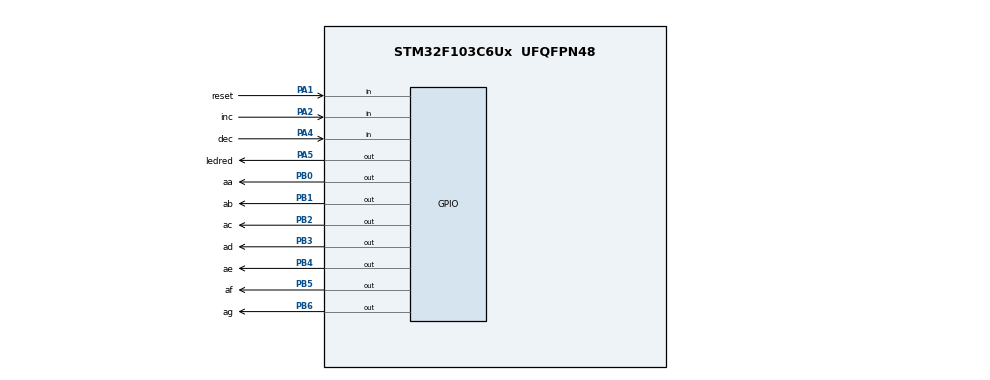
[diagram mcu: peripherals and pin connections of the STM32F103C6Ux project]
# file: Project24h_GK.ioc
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Mcu.Family=STM32F1
Mcu.Name=STM32F103C6Ux
Mcu.Package=UFQFPN48
NVIC.PriorityGroup=NVIC_PRIORITYGROUP_4
NVIC.TIM2_IRQn=true\:0\:0\:false\:false\:true\:true\:true
PA1.GPIO_Label=reset
PA1.GPIO_PuPd=GPIO_PULLUP
PA1.Signal=GPIO_Input
PA2.GPIO_Label=inc
PA2.GPIO_PuPd=GPIO_PULLUP
PA2.Signal=GPIO_Input
PA4.GPIO_Label=dec
PA4.GPIO_PuPd=GPIO_PULLUP
PA4.Signal=GPIO_Input
PA5.GPIO_Label=ledred
PA5.Signal=GPIO_Output
PB0.GPIO_Label=aa
PB0.Signal=GPIO_Output
PB1.GPIO_Label=ab
PB1.Signal=GPIO_Output
PB2.GPIO_Label=ac
PB2.Signal=GPIO_Output
PB3.GPIO_Label=ad
PB3.Signal=GPIO_Output
PB4.GPIO_Label=ae
PB4.Signal=GPIO_Output
PB5.GPIO_Label=af
PB5.Signal=GPIO_Output
PB6.GPIO_Label=ag
PB6.Signal=GPIO_Output
ProjectManager.HeapSize=0x200
ProjectManager.StackSize=0x400
ProjectManager.TargetToolchain=STM32CubeIDE
RCC.APB1Freq_Value=8000000
RCC.APB2Freq_Value=8000000
TIM2.Period=9
TIM2.Prescaler=7999
VP_SYS_VS_ND.Mode=No_Debug
VP_TIM2_VS_ClockSourceINT.Mode=Internal
board=custom

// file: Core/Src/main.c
/* USER CODE BEGIN Header */
/**
  ******************************************************************************
  * @file           : main.c
  * @brief          : Main program body
  ******************************************************************************
  * @attention
  *
  * <h2><center>&copy; Copyright (c) 2022 STMicroelectronics.
  * All rights reserved.</center></h2>
  *
  * This software component is licensed by ST under BSD 3-Clause license,
  * the "License"; You may not use this file except in compliance with the
  * License. You may obtain a copy of the License at:
  *                        opensource.org/licenses/BSD-3-Clause
  *
  ******************************************************************************
  */
/* USER CODE END Header */
#include "main.h"
#include "global.h"

TIM_HandleTypeDef htim2;

void SystemClock_Config(void);
static void MX_GPIO_Init(void);
static void MX_TIM2_Init(void);

int main(void)
{

  /* MCU Configuration--------------------------------------------------------*/

  /* Reset of all peripherals, Initializes the Flash interface and the Systick. */
  HAL_Init();

  /* Configure the system clock */
  SystemClock_Config();

  /* Initialize all configured peripherals */
  MX_GPIO_Init();
  MX_TIM2_Init();
  /* USER CODE BEGIN 2 */
  HAL_TIM_Base_Start_IT(&htim2);
  /* USER CODE END 2 */

  /* Infinite loop */
  /* USER CODE BEGIN WHILE */
  setTimer1(1000);
  setTimer2(9000);
  setTimer3(1000);
  status = INIT;
  inc_flag =1;
  while (1)
  {
	  fsm_simple_buttons_run();

	  if (timer1_flag == 1) {
	HAL_GPIO_TogglePin ( ledred_GPIO_Port , ledred_Pin );
			setTimer1(1000);
	  }

	  if (timer3_flag == 1) {
		  if (status > 0) {
			  status -= 1;
		  }
		  setTimer3(1000);
	  }
    /* USER CODE END WHILE */

  }
}

void SystemClock_Config(void)
{
  RCC_OscInitTypeDef RCC_OscInitStruct = {0};
  RCC_ClkInitTypeDef RCC_ClkInitStruct = {0};

  /** Initializes the RCC Oscillators according to the specified parameters
  * in the RCC_OscInitTypeDef structure.
  */
  RCC_OscInitStruct.OscillatorType = RCC_OSCILLATORTYPE_HSI;
  RCC_OscInitStruct.HSIState = RCC_HSI_ON;
  RCC_OscInitStruct.HSICalibrationValue = RCC_HSICALIBRATION_DEFAULT;
  RCC_OscInitStruct.PLL.PLLState = RCC_PLL_NONE;
  if (HAL_RCC_OscConfig(&RCC_OscInitStruct) != HAL_OK)
  {
    Error_Handler();
  }
  /** Initializes the CPU, AHB and APB buses clocks
  */
  RCC_ClkInitStruct.ClockType = RCC_CLOCKTYPE_HCLK|RCC_CLOCKTYPE_SYSCLK
                              |RCC_CLOCKTYPE_PCLK1|RCC_CLOCKTYPE_PCLK2;
  RCC_ClkInitStruct.SYSCLKSource = RCC_SYSCLKSOURCE_HSI;
  RCC_ClkInitStruct.AHBCLKDivider = RCC_SYSCLK_DIV1;
  RCC_ClkInitStruct.APB1CLKDivider = RCC_HCLK_DIV1;
  RCC_ClkInitStruct.APB2CLKDivider = RCC_HCLK_DIV1;

  if (HAL_RCC_ClockConfig(&RCC_ClkInitStruct, FLASH_LATENCY_0) != HAL_OK)
  {
    Error_Handler();
  }
}

static void MX_TIM2_Init(void)
{

  TIM_ClockConfigTypeDef sClockSourceConfig = {0};
  TIM_MasterConfigTypeDef sMasterConfig = {0};

  htim2.Instance = TIM2;
  htim2.Init.Prescaler = 7999;
  htim2.Init.CounterMode = TIM_COUNTERMODE_UP;
  htim2.Init.Period = 9;
  htim2.Init.ClockDivision = TIM_CLOCKDIVISION_DIV1;
  htim2.Init.AutoReloadPreload = TIM_AUTORELOAD_PRELOAD_DISABLE;
  if (HAL_TIM_Base_Init(&htim2) != HAL_OK)
  {
    Error_Handler();
  }
  sClockSourceConfig.ClockSource = TIM_CLOCKSOURCE_INTERNAL;
  if (HAL_TIM_ConfigClockSource(&htim2, &sClockSourceConfig) != HAL_OK)
  {
    Error_Handler();
  }
  sMasterConfig.MasterOutputTrigger = TIM_TRGO_RESET;
  sMasterConfig.MasterSlaveMode = TIM_MASTERSLAVEMODE_DISABLE;
  if (HAL_TIMEx_MasterConfigSynchronization(&htim2, &sMasterConfig) != HAL_OK)
  {
    Error_Handler();
  }

}

static void MX_GPIO_Init(void)
{
  GPIO_InitTypeDef GPIO_InitStruct = {0};

  /* GPIO Ports Clock Enable */
  __HAL_RCC_GPIOA_CLK_ENABLE();
  __HAL_RCC_GPIOB_CLK_ENABLE();

  /*Configure GPIO pin Output Level */
  HAL_GPIO_WritePin(ledred_GPIO_Port, ledred_Pin, GPIO_PIN_RESET);

  /*Configure GPIO pin Output Level */
  HAL_GPIO_WritePin(GPIOB, aa_Pin|ab_Pin|ac_Pin|ad_Pin
                          |ae_Pin|af_Pin|ag_Pin, GPIO_PIN_RESET);

  /*Configure GPIO pins : reset_Pin inc_Pin dec_Pin */
  GPIO_InitStruct.Pin = reset_Pin|inc_Pin|dec_Pin;
  GPIO_InitStruct.Mode = GPIO_MODE_INPUT;
  GPIO_InitStruct.Pull = GPIO_PULLUP;
  HAL_GPIO_Init(GPIOA, &GPIO_InitStruct);

  /*Configure GPIO pin : ledred_Pin */
  GPIO_InitStruct.Pin = ledred_Pin;
  GPIO_InitStruct.Mode = GPIO_MODE_OUTPUT_PP;
  GPIO_InitStruct.Pull = GPIO_NOPULL;
  GPIO_InitStruct.Speed = GPIO_SPEED_FREQ_LOW;
  HAL_GPIO_Init(ledred_GPIO_Port, &GPIO_InitStruct);

  /*Configure GPIO pins : aa_Pin ab_Pin ac_Pin ad_Pin
                           ae_Pin af_Pin ag_Pin */
  GPIO_InitStruct.Pin = aa_Pin|ab_Pin|ac_Pin|ad_Pin
                          |ae_Pin|af_Pin|ag_Pin;
  GPIO_InitStruct.Mode = GPIO_MODE_OUTPUT_PP;
  GPIO_InitStruct.Pull = GPIO_NOPULL;
  GPIO_InitStruct.Speed = GPIO_SPEED_FREQ_LOW;
  HAL_GPIO_Init(GPIOB, &GPIO_InitStruct);

}

/* USER CODE BEGIN 4 */
void HAL_TIM_PeriodElapsedCallback(TIM_HandleTypeDef *htim){
	timer1_run();
	timer2_run();
	timer3_run();
	getKeyResetInput();
	getKeyIncInput();
	getKeyDecInput();
}
/* USER CODE END 4 */

void Error_Handler(void)
{
  __disable_irq();
  while (1)
  {
  }
}

/************************ (C) COPYRIGHT STMicroelectronics *****END OF FILE****/
